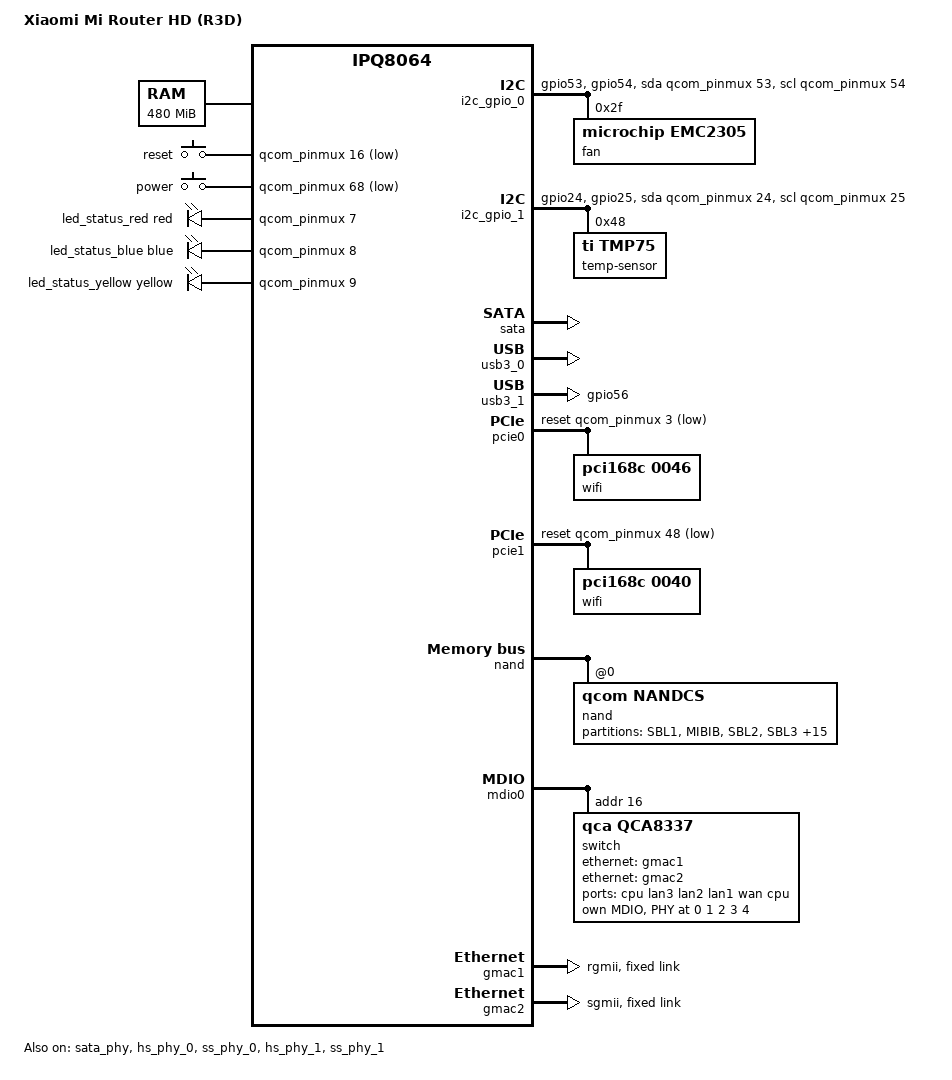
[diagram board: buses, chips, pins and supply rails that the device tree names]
// SPDX-License-Identifier: GPL-2.0-or-later OR MIT

#include "qcom-ipq8064-v2.0-smb208.dtsi"

#include <dt-bindings/input/input.h>
#include <dt-bindings/leds/common.h>

/ {
	model = "Xiaomi Mi Router HD (R3D)";
	compatible = "xiaomi,mi-router-hd", "qcom,ipq8064";

	memory@0 {
		device_type = "memory";
		reg = <0x42000000 0x1e000000>;
	};

	reserved-memory {
		ramoops@42100000 {
			compatible = "ramoops";
			reg = <0x42100000 0x40000>;
			record-size = <0x4000>;
			console-size = <0x4000>;
			ftrace-size = <0x4000>;
			pmsg-size = <0x4000>;
		};
	};

	aliases {
		label-mac-device = &gmac1;

		mdio-gpio0 = &mdio0;

		led-boot = &led_status_yellow;
		led-failsafe = &led_status_red;
		led-running = &led_status_blue;
		led-upgrade = &led_status_yellow;
	};

	chosen {
		bootargs = "rootfstype=squashfs noinitrd";
	};

	keys {
		compatible = "gpio-keys";
		pinctrl-0 = <&button_pins>;
		pinctrl-names = "default";

		reset {
			label = "reset";
			gpios = <&qcom_pinmux 16 GPIO_ACTIVE_LOW>;
			linux,code = <KEY_RESTART>;
			debounce-interval = <60>;
			wakeup-source;
		};

		power {
			label = "power";
			gpios = <&qcom_pinmux 68 GPIO_ACTIVE_LOW>;
			linux,code = <KEY_POWER>;
			debounce-interval = <60>;
			wakeup-source;
		};
	};

	leds {
		compatible = "gpio-leds";
		pinctrl-0 = <&led_pins>;
		pinctrl-names = "default";

		led_status_red: led_status_red {
			function = LED_FUNCTION_STATUS;
			color = <LED_COLOR_ID_RED>;
			gpios = <&qcom_pinmux 7 GPIO_ACTIVE_HIGH>;
		};

		led_status_blue: led_status_blue {
			function = LED_FUNCTION_STATUS;
			color = <LED_COLOR_ID_BLUE>;
			gpios = <&qcom_pinmux 8 GPIO_ACTIVE_HIGH>;
		};

		led_status_yellow: led_status_yellow {
			function = LED_FUNCTION_STATUS;
			color = <LED_COLOR_ID_YELLOW>;
			gpios = <&qcom_pinmux 9 GPIO_ACTIVE_HIGH>;
		};
	};

	i2c_gpio_0 {  /* GSBI1 */
		compatible = "i2c-gpio";
		#address-cells = <1>;
		#size-cells = <0>;
		pinctrl-0 = <&i2c1_pins>;
		pinctrl-names = "default";
		sda-gpios = <&qcom_pinmux 53 (GPIO_ACTIVE_HIGH | GPIO_OPEN_DRAIN)>;
		scl-gpios = <&qcom_pinmux 54 (GPIO_ACTIVE_HIGH | GPIO_OPEN_DRAIN)>;
		i2c-gpio,delay-us = <5>;

		fan@2f {
			compatible = "microchip,emc2305";
			reg = <0x2f>;
			emc2305,pwm-channel = <0>;
			emc2305,pwm-min = <0>;
			emc2305,pwm-max = <255>;
		};
	};

	i2c_gpio_1 {  /* GSBI2 */
		compatible = "i2c-gpio";
		#address-cells = <1>;
		#size-cells = <0>;
		pinctrl-0 = <&i2c2_pins>;
		pinctrl-names = "default";
		sda-gpios = <&qcom_pinmux 24 (GPIO_ACTIVE_HIGH | GPIO_OPEN_DRAIN)>;
		scl-gpios = <&qcom_pinmux 25 (GPIO_ACTIVE_HIGH | GPIO_OPEN_DRAIN)>;
		i2c-gpio,delay-us = <5>;

		temp-sensor@48 {
			compatible = "ti,tmp75";
			reg = <0x48>;
			#thermal-sensor-cells = <0>;
			status = "okay";
		};
	};
};

&CPU_SPC {
	status = "disabled";
};

&adm_dma {
	status = "okay";
};

&qcom_pinmux {
	i2c1_pins: i2c1_pins {  /* GSBI1 - EMC2301 */
		mux {
			pins = "gpio53", "gpio54";
			function = "gsbi1";
			drive-strength = <12>;
			bias-none;
			input;
		};
	};

	i2c2_pins: i2c2_pins {  /* GSBI2 - TMP75 */
		mux {
			pins = "gpio24", "gpio25";
			function = "gsbi2";
			drive-strength = <12>;
			bias-none;
			input;
		};
	};

	button_pins: button_pins {
		mux {
			pins = "gpio16", "gpio68";
			function = "gpio";
			drive-strength = <2>;
			bias-pull-up;
		};
	};

	led_pins: led_pins {
		mux {
			pins = "gpio7", "gpio8", "gpio9";
			function = "gpio";
			drive-strength = <2>;
			bias-pull-up;
		};
	};

	usb_pwr_en_pins: usb_pwr_en_pins {
		mux {
			pins = "gpio56";
			function = "gpio";
			drive-strength = <12>;
			bias-pull-up;
			output-high;
		};
	};
};

&sata_phy {
	status = "okay";
};

&sata {
	status = "okay";
};

&hs_phy_0 {
	status = "okay";
};

&ss_phy_0 {
	status = "okay";
};

&usb3_0 {
	status = "okay";
};

&hs_phy_1 {
	status = "okay";
};

&ss_phy_1 {
	status = "okay";
};

&usb3_1 {
	status = "okay";
	pinctrl-0 = <&usb_pwr_en_pins>;
	pinctrl-names = "default";
};

&pcie0 {
	status = "okay";
	reset-gpios = <&qcom_pinmux 3 GPIO_ACTIVE_LOW>;
	pinctrl-0 = <&pcie0_pins>;
	pinctrl-names = "default";

	bridge@0,0 {
		reg = <0x00000000 0 0 0 0>;
		#address-cells = <3>;
		#size-cells = <2>;
		ranges;

		wifi@1,0 {
			compatible = "pci168c,0046";
			reg = <0x00010000 0 0 0 0>;

			nvmem-cells = <&precal_art_1000>, <&macaddr_art_1006>;
			nvmem-cell-names = "pre-calibration", "mac-address";
		};
	};
};

&pcie1 {
	status = "okay";
	reset-gpios = <&qcom_pinmux 48 GPIO_ACTIVE_LOW>;
	pinctrl-0 = <&pcie1_pins>;
	pinctrl-names = "default";
	max-link-speed = <1>;

	bridge@0,0 {
		reg = <0x00000000 0 0 0 0>;
		#address-cells = <3>;
		#size-cells = <2>;
		ranges;

		wifi@1,0 {
			compatible = "pci168c,0040";
			reg = <0x00010000 0 0 0 0>;

			nvmem-cells = <&precal_art_5000>, <&macaddr_art_5006>;
			nvmem-cell-names = "pre-calibration", "mac-address";
		};
	};  
};

&nand {
	status = "okay";

	nand@0 {
		reg = <0>;
		compatible = "qcom,nandcs";

		nand-bus-width = <8>;
		nand-ecc-strength = <4>;
		nand-ecc-step-size = <512>;

		nand-is-boot-medium;
		qcom,boot-partitions = <0 0xf0000000>;

		partitions {
			compatible = "fixed-partitions";
			#address-cells = <1>;
			#size-cells = <1>;

			partition@0 {
				label = "SBL1";
				reg = <0x0 0x40000>;
				read-only;
			};

			partition@40000 {
				label = "MIBIB";
				reg = <0x40000 0x80000>;
				read-only;
			};

			partition@c0000 {
				label = "SBL2";
				reg = <0xc0000 0x80000>;
				read-only;
			};

			partition@140000 {
				label = "SBL3";
				reg = <0x140000 0x80000>;
				read-only;
			};

			partition@1c0000 {
				label = "DDRCONFIG";
				reg = <0x1c0000 0x80000>;
				read-only;
			};

			partition@240000 {
				label = "SSD";
				reg = <0x240000 0x80000>;
				read-only;
			};

			partition@2c0000 {
				label = "TZ";
				reg = <0x2c0000 0x80000>;
				read-only;
			};

			partition@340000 {
				label = "RPM";
				reg = <0x340000 0x80000>;
				read-only;
			};

			partition@3c0000 {
				label = "APPSBL";
				reg = <0x3c0000 0x100000>;
				read-only;
			};

			partition@4c0000 {
				label = "APPSBLENV";
				reg = <0x4c0000 0x80000>;
			};

			art: partition@540000 {
				label = "ART";
				reg = <0x540000 0x80000>;
				read-only;

				nvmem-layout {
					compatible = "fixed-layout";
					#address-cells = <1>;
					#size-cells = <1>;

					macaddr_art_0: macaddr@0 {  /* WAN (label) */
						compatible = "mac-base";
						reg = <0x0 0x6>;
						#nvmem-cell-cells = <1>;
					};

					macaddr_art_6: macaddr@6 {  /* LAN */
						reg = <0x6 0x6>;
					};

					macaddr_art_1006: macaddr@1006 {  /* WiFi 2g */
						reg = <0x1006 0x6>;
					};

					macaddr_art_5006: macaddr@5006 {  /* WiFi 5g */
						reg = <0x5006 0x6>;
					};

					precal_art_1000: precal@1000 {
						reg = <0x1000 0x2f20>;
					};

					precal_art_5000: precal@5000 {
						reg = <0x5000 0x2f20>;
					};
				};
			};

			partition@5c0000 {
				label = "BOOTCONFIG";
				reg = <0x5c0000 0x40000>;
				read-only;
			};

			partition@600000 {
				label = "bdata";
				reg = <0x600000 0x80000>;
			};

			partition@680000 {
				label = "crash";
				reg = <0x680000 0x80000>;
				read-only;
			};

			partition@700000 {
				label = "crash_syslog";
				reg = <0x700000 0x80000>;
				read-only;
			};

			partition@780000 {
				label = "rsvd";
				reg = <0x780000 0x80000>;
				read-only;
			};

			partition@800000 {
				label = "kernel_dup";
				reg = <0x800000 0x400000>;
			};

			partition@c00000 {
				label = "kernel";
				reg = <0xc00000 0x400000>;
			};

			partition@1000000 {
				label = "ubi";
				reg = <0x1000000 0xf000000>;
			};
		};
	};
};

&mdio0 {
	status = "okay";

	pinctrl-0 = <&mdio0_pins>;
	pinctrl-names = "default";

	switch@10 {
		compatible = "qca,qca8337";
		#address-cells = <1>;
		#size-cells = <0>;
		reg = <0x10>;

		ports {
			#address-cells = <1>;
			#size-cells = <0>;

			port@0 {
				reg = <0>;
				label = "cpu";
				ethernet = <&gmac1>;
				phy-mode = "rgmii";
				tx-internal-delay-ps = <1000>;
				rx-internal-delay-ps = <1000>;

				fixed-link {
					speed = <1000>;
					full-duplex;
				};
			};

			port@1 {
				reg = <1>;
				label = "lan3";
				phy-mode = "internal";
				phy-handle = <&phy_port1>;
			};

			port@2 {
				reg = <2>;
				label = "lan2";
				phy-mode = "internal";
				phy-handle = <&phy_port2>;
			};

			port@3 {
				reg = <3>;
				label = "lan1";
				phy-mode = "internal";
				phy-handle = <&phy_port3>;
			};

			port@5 {
				reg = <5>;
				label = "wan";
				phy-mode = "internal";
				phy-handle = <&phy_port5>;
			};

			port@6 {
				reg = <6>;
				label = "cpu";
				ethernet = <&gmac2>;
				phy-mode = "sgmii";
				qca,sgmii-enable-pll;

				fixed-link {
					speed = <1000>;
					full-duplex;
				};
			};
		};

		mdio {
			#address-cells = <1>;
			#size-cells = <0>;

			phy_port1: phy@0 {
				reg = <0>;
			};

			phy_port2: phy@1 {
				reg = <1>;
			};

			phy_port3: phy@2 {
				reg = <2>;
			};

			phy_port4: phy@3 {
				reg = <3>;
			};

			phy_port5: phy@4 {
				reg = <4>;
			};
		};
	};
};

&gmac1 {
	status = "okay";
	phy-mode = "rgmii";
	qcom,id = <1>;

	pinctrl-0 = <&rgmii2_pins>;
	pinctrl-names = "default";

	nvmem-cells = <&macaddr_art_0 0>;
	nvmem-cell-names = "mac-address";

	fixed-link {
		speed = <1000>;
		full-duplex;
	};
};

&gmac2 {
	status = "okay";
	phy-mode = "sgmii";
	qcom,id = <2>;

	nvmem-cells = <&macaddr_art_6 0>;
	nvmem-cell-names = "mac-address";

	fixed-link {
		speed = <1000>;
		full-duplex;
	};
};
